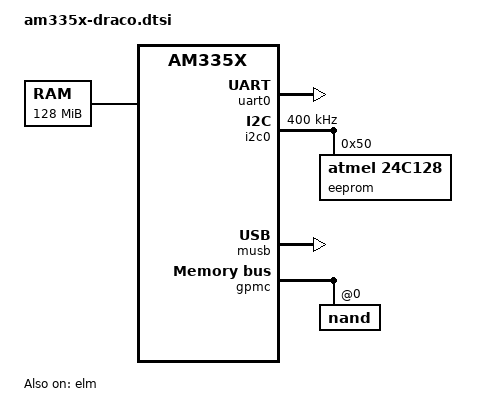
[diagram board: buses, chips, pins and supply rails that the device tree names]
/*
 * Common support for Siemens Draco SOM (AM335x based)
 *
 * Copyright (C) 2013,2014 - Stefan Roese <sr@denx.de>
 *
 * This file is licensed under the terms of the GNU General Public License
 * version 2.  This program is licensed "as is" without any warranty of any
 * kind, whether express or implied.
 */

/ {
	chosen {
		stdout-path = &uart0;
		tick-timer = &timer2;
	};

	memory {
		device_type = "memory";
		reg = <0x80000000 0x08000000>; /* 128 MB */
	};

	ocp {
		uart0: serial@44e09000 {
			pinctrl-names = "default";
			pinctrl-0 = <&uart0_pins>;
			status = "okay";
		};

		i2c0: i2c@44e0b000 {
			pinctrl-names = "default";
			pinctrl-0 = <&i2c0_pins>;

			status = "okay";
			clock-frequency = <400000>;

			eeprom: eeprom@50 {
				compatible = "atmel,24c128";
				reg = <0x50>;
				pagesize = <64>;
			};
		};

		musb: usb@47400000 {
			status = "okay";

			control@44e10620 {
				status = "okay";
			};

			usb-phy@47401300 {
				status = "okay";
			};

			usb-phy@47401b00 {
				status = "okay";
			};

			usb@47401000 {
				status = "okay";
			};

			usb@47401800 {
				status = "okay";
				dr_mode = "host";
			};

			dma-controller@47402000  {
				status = "okay";
			};
		};
	};
};

&am33xx_pinmux {
		i2c0_pins: pinmux_i2c0_pins {
			pinctrl-single,pins = <
				0x188 (PIN_INPUT_PULLUP | MUX_MODE0)	/* i2c0_sda.i2c0_sda */
				0x18c (PIN_INPUT_PULLUP | MUX_MODE0)	/* i2c0_scl.i2c0_scl */
			>;
		};

		uart0_pins: pinmux_uart0_pins {
			pinctrl-single,pins = <
				0x170 (PIN_INPUT_PULLUP | MUX_MODE0)	/* uart0_rxd.uart0_rxd */
				0x174 (PIN_OUTPUT_PULLDOWN | MUX_MODE0)	/* uart0_txd.uart0_txd */
			>;
		};

		nandflash_pins: nandflash_pins {
			pinctrl-single,pins = <
				0x0 (PIN_INPUT_PULLUP | MUX_MODE0)	/* gpmc_ad0.gpmc_ad0 */
				0x4 (PIN_INPUT_PULLUP | MUX_MODE0)	/* gpmc_ad1.gpmc_ad1 */
				0x8 (PIN_INPUT_PULLUP | MUX_MODE0)	/* gpmc_ad2.gpmc_ad2 */
				0xc (PIN_INPUT_PULLUP | MUX_MODE0)	/* gpmc_ad3.gpmc_ad3 */
				0x10 (PIN_INPUT_PULLUP | MUX_MODE0)	/* gpmc_ad4.gpmc_ad4 */
				0x14 (PIN_INPUT_PULLUP | MUX_MODE0)	/* gpmc_ad5.gpmc_ad5 */
				0x18 (PIN_INPUT_PULLUP | MUX_MODE0)	/* gpmc_ad6.gpmc_ad6 */
				0x1c (PIN_INPUT_PULLUP | MUX_MODE0)	/* gpmc_ad7.gpmc_ad7 */
				0x70 (PIN_INPUT_PULLUP | MUX_MODE0)	/* gpmc_wait0.gpmc_wait0 */
				0x74 (PIN_INPUT_PULLUP | MUX_MODE7)	/* gpmc_wpn.gpio0_30 */
				0x7c (PIN_OUTPUT | MUX_MODE0)		/* gpmc_csn0.gpmc_csn0  */
				0x90 (PIN_OUTPUT | MUX_MODE0)		/* gpmc_advn_ale.gpmc_advn_ale */
				0x94 (PIN_OUTPUT | MUX_MODE0)		/* gpmc_oen_ren.gpmc_oen_ren */
				0x98 (PIN_OUTPUT | MUX_MODE0)		/* gpmc_wen.gpmc_wen */
				0x9c (PIN_OUTPUT | MUX_MODE0)		/* gpmc_be0n_cle.gpmc_be0n_cle */
			>;
		};
	};


&timer3 {
	status = "disabled";
};

&uart4 {
	status = "disabled";
};

&elm {
	status = "okay";
};

&gpmc {
	status = "okay";
	pinctrl-names = "default";
	pinctrl-0 = <&nandflash_pins>;

	ranges = <0 0 0x08000000 0x10000000>;	/* CS0: NAND */

	nand@0,0 {
		reg = <0 0 0>; /* CS0, offset 0 */
		nand-bus-width = <8>;
		ti,nand-ecc-opt = "bch8";
		gpmc,device-nand = "true";
		gpmc,device-width = <1>;
		gpmc,sync-clk-ps = <0>;
		gpmc,cs-on-ns = <0>;
		gpmc,cs-rd-off-ns = <44>;
		gpmc,cs-wr-off-ns = <44>;
		gpmc,adv-on-ns = <6>;
		gpmc,adv-rd-off-ns = <34>;
		gpmc,adv-wr-off-ns = <44>;
		gpmc,we-on-ns = <0>;
		gpmc,we-off-ns = <40>;
		gpmc,oe-on-ns = <0>;
		gpmc,oe-off-ns = <54>;
		gpmc,access-ns = <64>;
		gpmc,rd-cycle-ns = <82>;
		gpmc,wr-cycle-ns = <82>;
		gpmc,wait-on-read = "true";
		gpmc,wait-on-write = "true";
		gpmc,bus-turnaround-ns = <0>;
		gpmc,cycle2cycle-delay-ns = <0>;
		gpmc,clk-activation-ns = <0>;
		gpmc,wait-monitoring-ns = <0>;
		gpmc,wr-access-ns = <40>;
		gpmc,wr-data-mux-bus-ns = <0>;

		#address-cells = <1>;
		#size-cells = <1>;
		elm_id = <&elm>;
	};
};

/* disable the RTC node as its not accessible on the draco/dxr2 board */
&rtc {
	status = "disabled";
	ti,hwmods = "disabled";
};
